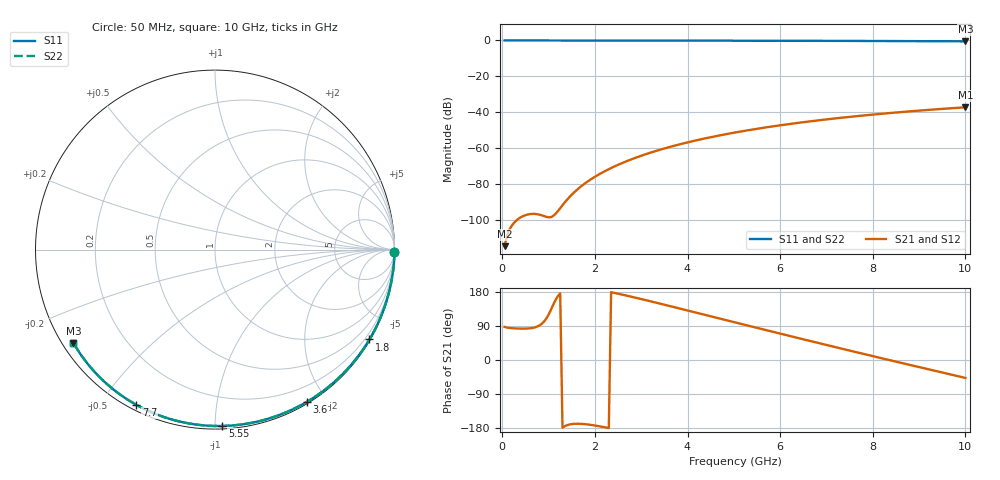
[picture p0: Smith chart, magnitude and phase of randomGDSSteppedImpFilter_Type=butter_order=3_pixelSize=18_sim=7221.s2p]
! freq	dB(S11)	phase(S11)	dB(S12)	phase(S12)
!  dB(S21)	phase(S21)	dB(S22)	phase(S22)
!S-par simulation data
#  GHz  S  DB  R 50
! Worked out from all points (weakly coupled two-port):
!   200 points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, 50 MHz to 10 GHz, reference 50 ohm
!   highest |S21| = -37.31 dB at 10 GHz (marker M1); lowest = -114.8 dB at 50 MHz (marker M2)
!   lowest |S11| = -0.5 dB at 10 GHz (marker M3), VSWR 35.17, Z = 1.55 - j15 ohm
!   |S11| at or under -10 dB: nowhere
!   |S22| runs from -0.5 to 0.0 dB; largest |S21 - S12| = 0
!   S11 on the Smith chart (normalised r, x): 50 MHz: open; 1.8 GHz: 0.03, -3.71; 3.6 GHz: 0.02, -1.77; 5.55 GHz: 0.02, -1.04; 7.7 GHz: 0.02, -0.61; 10 GHz: 0.03, -0.30
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0.05  -0.00 -0.9  -114.84 87.4  -114.84 87.4  -0.00 -0.9
0.45  -0.01 -7.7  -98.03 82.7  -98.03 82.7  -0.01 -7.7
0.9  -0.02 -15.3  -98.05 101.2  -98.05 101.2  -0.02 -15.3
1.3  -0.03 -21.9  -91.96 -178.5  -91.96 -178.5  -0.03 -21.9
1.75  -0.04 -29.4  -80.48 -168.9  -80.48 -168.9  -0.04 -29.4
1.8  -0.04 -30.2  -79.52 -169.5  -79.52 -169.5  -0.04 -30.2
1.95  -0.04 -32.6  -76.90 -171.9  -76.90 -171.9  -0.04 -32.6
2.1  -0.04 -35.1  -74.59 -175.0  -74.59 -175.0  -0.04 -35.1
2.3  -0.05 -38.3  -71.85 -179.7  -71.85 -179.7  -0.05 -38.3
2.5  -0.05 -41.6  -69.42 175.0  -69.42 175.0  -0.05 -41.6
2.9  -0.06 -47.9  -65.28 163.8  -65.28 163.8  -0.06 -47.9
3.4  -0.07 -55.8  -61.04 149.0  -61.04 149.0  -0.07 -55.8
3.6  -0.08 -58.9  -59.56 142.9  -59.56 142.9  -0.08 -58.9
4.3  -0.10 -69.5  -55.11 121.5  -55.11 121.5  -0.10 -69.5
5.05  -0.12 -80.5  -51.28 98.6  -51.28 98.6  -0.12 -80.5
5.55  -0.14 -87.6  -49.11 83.3  -49.11 83.3  -0.14 -87.6
6.1  -0.17 -95.3  -47.00 66.6  -47.00 66.6  -0.17 -95.3
6.7  -0.20 -103.5  -44.98 48.6  -44.98 48.6  -0.20 -103.5
7.7  -0.27 -116.8  -42.13 19.0  -42.13 19.0  -0.27 -116.8
8.35  -0.32 -125.3  -40.56 0.0  -40.56 0.0  -0.32 -125.3
9.2  -0.40 -136.3  -38.76 -24.4  -38.76 -24.4  -0.40 -136.3
10  -0.49 -146.6  -37.31 -47.2  -37.31 -47.2  -0.49 -146.6
